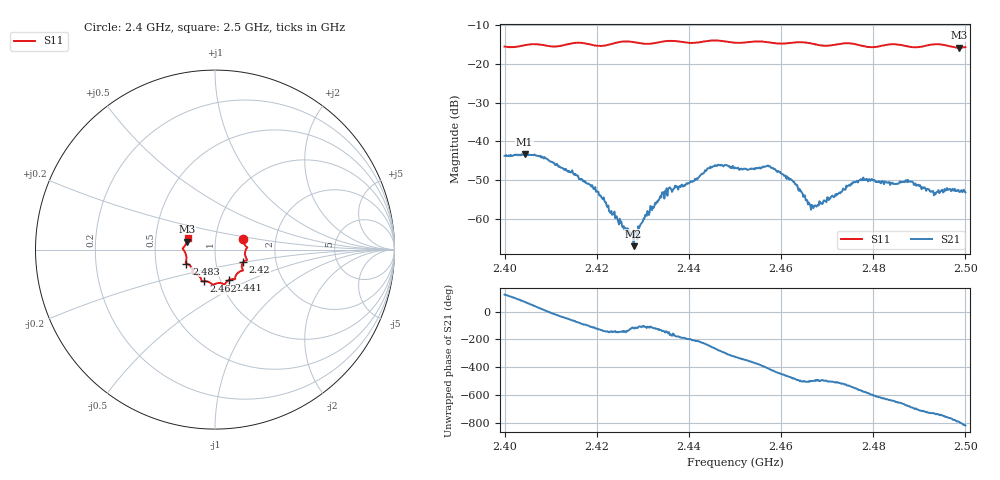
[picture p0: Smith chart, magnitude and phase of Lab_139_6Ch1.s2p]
# Hz S RI R 50
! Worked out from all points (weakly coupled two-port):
!   601 points, 2.4 GHz to 2.5 GHz, reference 50 ohm
!   highest |S21| = -43.24 dB at 2.4043 GHz (marker M1); lowest = -67.1 dB at 2.428 GHz (marker M2)
!   lowest |S11| = -15.8 dB at 2.4987 GHz (marker M3), VSWR 1.39, Z = 36.4 + j3.33 ohm
!   |S11| at or under -10 dB: start of sweep to end of sweep
!   S12 and S22 are empty: the file has one direction only
!   S11 on the Smith chart (normalised r, x): 2.4 GHz: 1.36, +0.17; 2.42 GHz: 1.36, -0.20; 2.441 GHz: 1.09, -0.39; 2.462 GHz: 0.83, -0.30; 2.483 GHz: 0.72, -0.12; 2.5 GHz: 0.73, +0.09
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2.4e9  0.1565 0.0602  -0.00338 0.00555  0 0  0 0
2.404333e9  0.1738 0.0175  0.00241 0.00645  0 0  0 0
2.408667e9  0.1742 0.00412  0.00619 0.00103  0 0  0 0
2.416667e9  0.178 -0.0582  0.00016 -0.00327  0 0  0 0
2.42e9  0.1567 -0.0709  -0.00126 -0.00188  0 0  0 0
2.426e9  0.1571 -0.1159  -0.000551 -0.000472  0 0  0 0
2.428e9  0.1509 -0.1176  -0.000213 -0.000388  0 0  0 0
2.433333e9  0.1129 -0.1525  -0.0011 -0.00133  0 0  0 0
2.435667e9  0.1112 -0.1646  -0.0021 -0.00133  0 0  0 0
2.441e9  0.0766 -0.1704  -0.00273 0.00133  0 0  0 0
2.445167e9  0.0539 -0.1935  -0.00107 0.0046  0 0  0 0
2.45e9  0.0262 -0.1861  0.00371 0.00273  0 0  0 0
2.457167e9  -0.0192 -0.19  0.00336 -0.00355  0 0  0 0
2.462e9  -0.0623 -0.1763  -0.00108 -0.00308  0 0  0 0
2.466667e9  -0.0763 -0.1668  -0.0011 -0.00104  0 0  0 0
2.477333e9  -0.1251 -0.1196  -0.00294 0.00141  0 0  0 0
2.483e9  -0.159 -0.078  -0.000127 0.00293  0 0  0 0
2.483333e9  -0.1607 -0.0774  0.000111 0.00297  0 0  0 0
2.488e9  -0.1593 -0.0481  0.00238 0.00188  0 0  0 0
2.493e9  -0.1791 0.00334  0.00226 -0.000298  0 0  0 0
2.498667e9  -0.1553 0.0445  0.000751 -0.00209  0 0  0 0
2.5e9  -0.1526 0.0633  -0.000195 -0.00218  0 0  0 0
